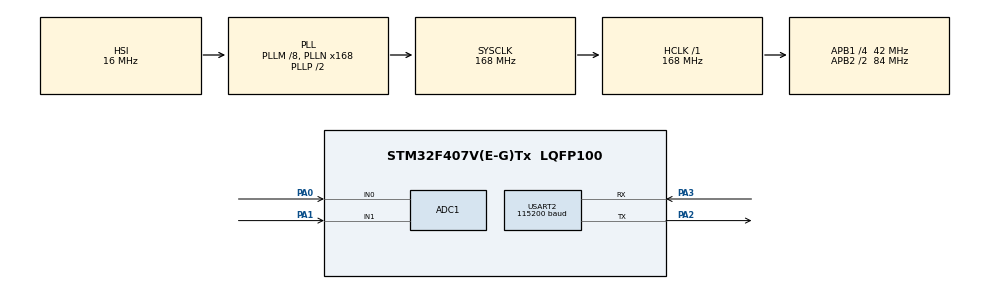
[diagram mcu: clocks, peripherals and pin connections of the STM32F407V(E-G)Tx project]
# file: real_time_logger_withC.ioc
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ADC1.Channel-1\#ChannelRegularConversion=ADC_CHANNEL_0
ADC1.Channel-2\#ChannelRegularConversion=ADC_CHANNEL_1
ADC1.ContinuousConvMode=ENABLE
ADC1.DMAContinuousRequests=ENABLE
ADC1.EOCSelection=ADC_EOC_SEQ_CONV
ADC1.NbrOfConversion=2
ADC1.NbrOfConversionFlag=1
ADC1.Rank-1\#ChannelRegularConversion=1
ADC1.Rank-2\#ChannelRegularConversion=2
ADC1.SamplingTime-1\#ChannelRegularConversion=ADC_SAMPLETIME_112CYCLES
ADC1.SamplingTime-2\#ChannelRegularConversion=ADC_SAMPLETIME_112CYCLES
ADC1.master=1
Dma.ADC1.0.Direction=DMA_PERIPH_TO_MEMORY
Dma.ADC1.0.FIFOMode=DMA_FIFOMODE_DISABLE
Dma.ADC1.0.Instance=DMA2_Stream0
Dma.ADC1.0.MemDataAlignment=DMA_MDATAALIGN_HALFWORD
Dma.ADC1.0.MemInc=DMA_MINC_ENABLE
Dma.ADC1.0.Mode=DMA_CIRCULAR
Dma.ADC1.0.PeriphDataAlignment=DMA_PDATAALIGN_HALFWORD
Dma.ADC1.0.PeriphInc=DMA_PINC_DISABLE
Dma.ADC1.0.Priority=DMA_PRIORITY_LOW
Dma.Request0=ADC1
Mcu.Family=STM32F4
Mcu.Name=STM32F407V(E-G)Tx
Mcu.Package=LQFP100
NVIC.DMA2_Stream0_IRQn=true\:0\:0\:false\:false\:true\:false\:true\:true
NVIC.PriorityGroup=NVIC_PRIORITYGROUP_4
PA0-WKUP.Signal=ADCx_IN0
PA1.Signal=ADCx_IN1
PA2.Mode=Asynchronous
PA2.Signal=USART2_TX
PA3.Mode=Asynchronous
PA3.Signal=USART2_RX
ProjectManager.HeapSize=0x200
ProjectManager.StackSize=0x400
ProjectManager.TargetToolchain=STM32CubeIDE
RCC.48MHZClocksFreq_Value=84000000
RCC.AHBFreq_Value=168000000
RCC.APB1CLKDivider=RCC_HCLK_DIV4
RCC.APB1Freq_Value=42000000
RCC.APB1TimFreq_Value=84000000
RCC.APB2CLKDivider=RCC_HCLK_DIV2
RCC.APB2Freq_Value=84000000
RCC.APB2TimFreq_Value=168000000
RCC.CortexFreq_Value=168000000
RCC.HCLKFreq_Value=168000000
RCC.HSE_VALUE=25000000
RCC.HSI_VALUE=16000000
RCC.LSE_VALUE=32768
RCC.PLLM=8
RCC.PLLN=168
RCC.SYSCLKFreq_VALUE=168000000
RCC.SYSCLKSource=RCC_SYSCLKSOURCE_PLLCLK
RCC.VCOOutputFreq_Value=336000000
SH.ADCx_IN0.0=ADC1_IN0,IN0
SH.ADCx_IN1.0=ADC1_IN1,IN1
USART2.BaudRate=115200
USART2.VirtualMode=VM_ASYNC
board=custom

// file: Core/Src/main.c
/* USER CODE BEGIN Header */
/**
  ******************************************************************************
  * @file           : main.c
  * @brief          : Main program body
  ******************************************************************************
  * @attention
  *
  * Copyright (c) 2025 STMicroelectronics.
  * All rights reserved.
  *
  * This software is licensed under terms that can be found in the LICENSE file
  * in the root directory of this software component.
  * If no LICENSE file comes with this software, it is provided AS-IS.
  *
  ******************************************************************************
  */
/* USER CODE END Header */
#include "main.h"

ADC_HandleTypeDef hadc1;
DMA_HandleTypeDef hdma_adc1;

UART_HandleTypeDef huart2;

/* USER CODE BEGIN PV */
uint16_t lux=0;// Variable to store light sensor value
uint16_t pot=0;// Variable to store potentiometer value
uint16_t rawValues[2];// Array to store ADC raw values (2 channels)
char msg[20];// Buffer for UART message transmission
/* USER CODE END PV */

void SystemClock_Config(void);
static void MX_GPIO_Init(void);
static void MX_DMA_Init(void);
static void MX_ADC1_Init(void);
static void MX_USART2_UART_Init(void);

/* USER CODE BEGIN 0 */
uint8_t convCompleted=0;// Flag indicating ADC conversion completion
// Flag indicating ADC conversion completion
void HAL_ADC_ConvCpltCallback(ADC_HandleTypeDef *hadc)//*****************
{
	convCompleted=1;
}
/* USER CODE END 0 */

int main(void)
{

  /* MCU Configuration--------------------------------------------------------*/

  /* Reset of all peripherals, Initializes the Flash interface and the Systick. */
  HAL_Init();

  /* Configure the system clock */
  SystemClock_Config();

  /* Initialize all configured peripherals */
  MX_GPIO_Init();
  MX_DMA_Init();
  MX_ADC1_Init();
  MX_USART2_UART_Init();
  /* USER CODE BEGIN 2 */
  HAL_ADC_Start_DMA(&hadc1, (uint32_t *)rawValues, 2);// Start ADC in DMA mode with 2 channels
  /* USER CODE END 2 */

  /* Infinite loop */
  while (1)
  {

    /* USER CODE BEGIN 3 */
	  if (convCompleted) {// Execute when ADC conversion is complete
		  lux = (uint16_t) rawValues[0];// Read light sensor value
		  pot = (uint16_t) rawValues[1];// Read potentiometer value

		  // Format the data as "lux;pot" and transmit via UART
		  sprintf(msg, "%hu;%hu\r\n", lux, pot);
		  HAL_UART_Transmit(&huart2, (uint8_t *)msg, strlen(msg), HAL_MAX_DELAY);

		  HAL_Delay(500);// Wait for 500ms
		  convCompleted = 0;// Reset conversion flag
	  }
  }
  /* USER CODE END 3 */
}

void SystemClock_Config(void)
{
  RCC_OscInitTypeDef RCC_OscInitStruct = {0};
  RCC_ClkInitTypeDef RCC_ClkInitStruct = {0};

  /** Configure the main internal regulator output voltage
  */
  __HAL_RCC_PWR_CLK_ENABLE();
  __HAL_PWR_VOLTAGESCALING_CONFIG(PWR_REGULATOR_VOLTAGE_SCALE1);

  /** Initializes the RCC Oscillators according to the specified parameters
  * in the RCC_OscInitTypeDef structure.
  */
  RCC_OscInitStruct.OscillatorType = RCC_OSCILLATORTYPE_HSI;
  RCC_OscInitStruct.HSIState = RCC_HSI_ON;
  RCC_OscInitStruct.HSICalibrationValue = RCC_HSICALIBRATION_DEFAULT;
  RCC_OscInitStruct.PLL.PLLState = RCC_PLL_ON;
  RCC_OscInitStruct.PLL.PLLSource = RCC_PLLSOURCE_HSI;
  RCC_OscInitStruct.PLL.PLLM = 8;
  RCC_OscInitStruct.PLL.PLLN = 168;
  RCC_OscInitStruct.PLL.PLLP = RCC_PLLP_DIV2;
  RCC_OscInitStruct.PLL.PLLQ = 4;
  if (HAL_RCC_OscConfig(&RCC_OscInitStruct) != HAL_OK)
  {
    Error_Handler();
  }

  /** Initializes the CPU, AHB and APB buses clocks
  */
  RCC_ClkInitStruct.ClockType = RCC_CLOCKTYPE_HCLK|RCC_CLOCKTYPE_SYSCLK
                              |RCC_CLOCKTYPE_PCLK1|RCC_CLOCKTYPE_PCLK2;
  RCC_ClkInitStruct.SYSCLKSource = RCC_SYSCLKSOURCE_PLLCLK;
  RCC_ClkInitStruct.AHBCLKDivider = RCC_SYSCLK_DIV1;
  RCC_ClkInitStruct.APB1CLKDivider = RCC_HCLK_DIV4;
  RCC_ClkInitStruct.APB2CLKDivider = RCC_HCLK_DIV2;

  if (HAL_RCC_ClockConfig(&RCC_ClkInitStruct, FLASH_LATENCY_5) != HAL_OK)
  {
    Error_Handler();
  }
}

static void MX_ADC1_Init(void)
{

  ADC_ChannelConfTypeDef sConfig = {0};

  /** Configure the global features of the ADC (Clock, Resolution, Data Alignment and number of conversion)
  */
  hadc1.Instance = ADC1;
  hadc1.Init.ClockPrescaler = ADC_CLOCK_SYNC_PCLK_DIV4;
  hadc1.Init.Resolution = ADC_RESOLUTION_12B;
  hadc1.Init.ScanConvMode = ENABLE;
  hadc1.Init.ContinuousConvMode = ENABLE;
  hadc1.Init.DiscontinuousConvMode = DISABLE;
  hadc1.Init.ExternalTrigConvEdge = ADC_EXTERNALTRIGCONVEDGE_NONE;
  hadc1.Init.ExternalTrigConv = ADC_SOFTWARE_START;
  hadc1.Init.DataAlign = ADC_DATAALIGN_RIGHT;
  hadc1.Init.NbrOfConversion = 2;
  hadc1.Init.DMAContinuousRequests = ENABLE;
  hadc1.Init.EOCSelection = ADC_EOC_SEQ_CONV;
  if (HAL_ADC_Init(&hadc1) != HAL_OK)
  {
    Error_Handler();
  }

  /** Configure for the selected ADC regular channel its corresponding rank in the sequencer and its sample time.
  */
  sConfig.Channel = ADC_CHANNEL_0;
  sConfig.Rank = 1;
  sConfig.SamplingTime = ADC_SAMPLETIME_112CYCLES;
  if (HAL_ADC_ConfigChannel(&hadc1, &sConfig) != HAL_OK)
  {
    Error_Handler();
  }

  /** Configure for the selected ADC regular channel its corresponding rank in the sequencer and its sample time.
  */
  sConfig.Channel = ADC_CHANNEL_1;
  sConfig.Rank = 2;
  if (HAL_ADC_ConfigChannel(&hadc1, &sConfig) != HAL_OK)
  {
    Error_Handler();
  }

}

static void MX_USART2_UART_Init(void)
{

  huart2.Instance = USART2;
  huart2.Init.BaudRate = 115200;
  huart2.Init.WordLength = UART_WORDLENGTH_8B;
  huart2.Init.StopBits = UART_STOPBITS_1;
  huart2.Init.Parity = UART_PARITY_NONE;
  huart2.Init.Mode = UART_MODE_TX_RX;
  huart2.Init.HwFlowCtl = UART_HWCONTROL_NONE;
  huart2.Init.OverSampling = UART_OVERSAMPLING_16;
  if (HAL_UART_Init(&huart2) != HAL_OK)
  {
    Error_Handler();
  }

}

static void MX_DMA_Init(void)
{

  /* DMA controller clock enable */
  __HAL_RCC_DMA2_CLK_ENABLE();

  /* DMA interrupt init */
  /* DMA2_Stream0_IRQn interrupt configuration */
  HAL_NVIC_SetPriority(DMA2_Stream0_IRQn, 0, 0);
  HAL_NVIC_EnableIRQ(DMA2_Stream0_IRQn);

}

static void MX_GPIO_Init(void)
{

  /* GPIO Ports Clock Enable */
  __HAL_RCC_GPIOA_CLK_ENABLE();

}

void Error_Handler(void)
{
  __disable_irq();
  while (1)
  {
  }
}
